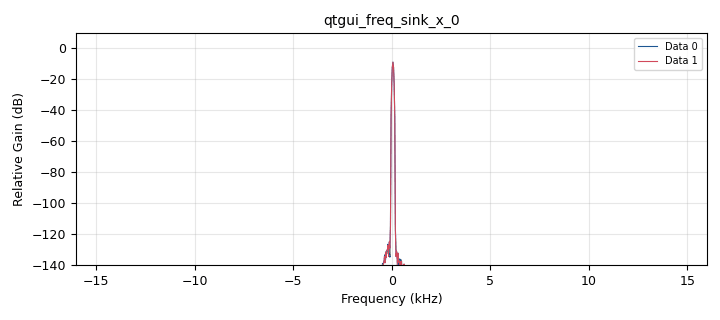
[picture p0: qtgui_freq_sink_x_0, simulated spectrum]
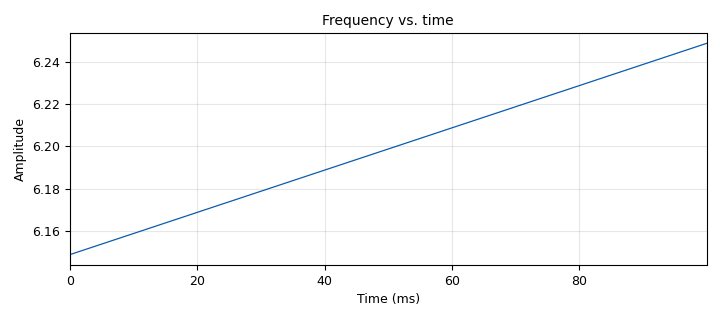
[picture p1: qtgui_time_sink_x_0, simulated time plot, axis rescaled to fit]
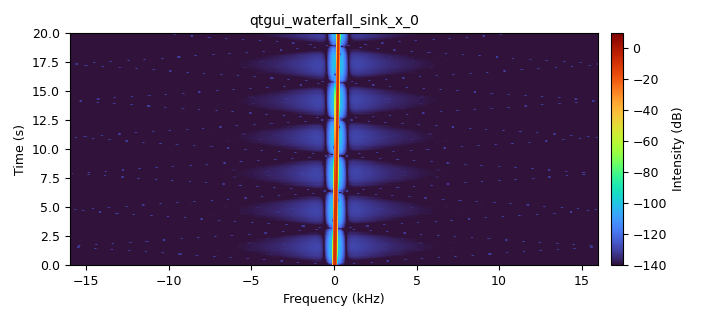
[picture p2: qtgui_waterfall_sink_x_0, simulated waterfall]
options:
  parameters:
    author: Daniel Estevez
    generate_options: qt_gui
    id: doppler
    output_language: python
    title: Doppler generation demo
  states: {}

blocks:
- name: drift
  id: variable
  parameters:
    comment: Doppler drift rate in Hz/s
    value: '10'
  states: {}
- name: duration
  id: variable
  parameters:
    comment: Duration in seconds
    value: '30'
  states: {}
- name: samp_rate
  id: variable
  parameters:
    value: '32000'
  states: {}
- name: analog_frequency_modulator_fc_0
  id: analog_frequency_modulator_fc
  parameters:
    sensitivity: 2 * np.pi * drift / samp_rate
  states: {}
- name: analog_sig_source_x_0
  id: analog_sig_source_x
  parameters:
    amp: duration
    freq: 1/duration
    offset: '0'
    phase: '-np.pi'
    samp_rate: samp_rate
    type: float
    waveform: analog.GR_SAW_WAVE
  states: {}
- name: blocks_file_sink_0
  id: blocks_file_sink
  parameters:
    file: doppler.c64
    type: complex
  states: {}
- name: blocks_throttle_0
  id: blocks_throttle
  parameters:
    samples_per_second: samp_rate
    type: float
  states: {}
- name: blocks_vco_c_0
  id: blocks_vco_c
  parameters:
    amplitude: '1'
    samp_rate: samp_rate
    sensitivity: 2 * np.pi * drift
  states: {}
- name: import_0
  id: import
  parameters:
    imports: import numpy as np
  states: {}
- name: qtgui_freq_sink_x_0
  id: qtgui_freq_sink_x
  parameters:
    bw: samp_rate
    fc: '0'
    fftsize: '1024'
    nconnections: '2'
    type: complex
  states: {}
- name: qtgui_time_sink_x_0
  id: qtgui_time_sink_x
  parameters:
    name: Frequency vs. time
    size: samp_rate//10
    srate: samp_rate
    type: float
    ymax: duration
    ymin: '0'
  states: {}
- name: qtgui_waterfall_sink_x_0
  id: qtgui_waterfall_sink_x
  parameters:
    bw: samp_rate
    fc: '0'
    fftsize: '1024'
    type: complex
  states: {}

connections:
- [analog_frequency_modulator_fc_0, '0', qtgui_freq_sink_x_0, '1']
- [analog_sig_source_x_0, '0', blocks_throttle_0, '0']
- [blocks_throttle_0, '0', analog_frequency_modulator_fc_0, '0']
- [blocks_throttle_0, '0', blocks_vco_c_0, '0']
- [blocks_throttle_0, '0', qtgui_time_sink_x_0, '0']
- [blocks_vco_c_0, '0', blocks_file_sink_0, '0']
- [blocks_vco_c_0, '0', qtgui_freq_sink_x_0, '0']
- [blocks_vco_c_0, '0', qtgui_waterfall_sink_x_0, '0']

metadata:
  file_format: 1
  grc_version: 3.10.2.0
